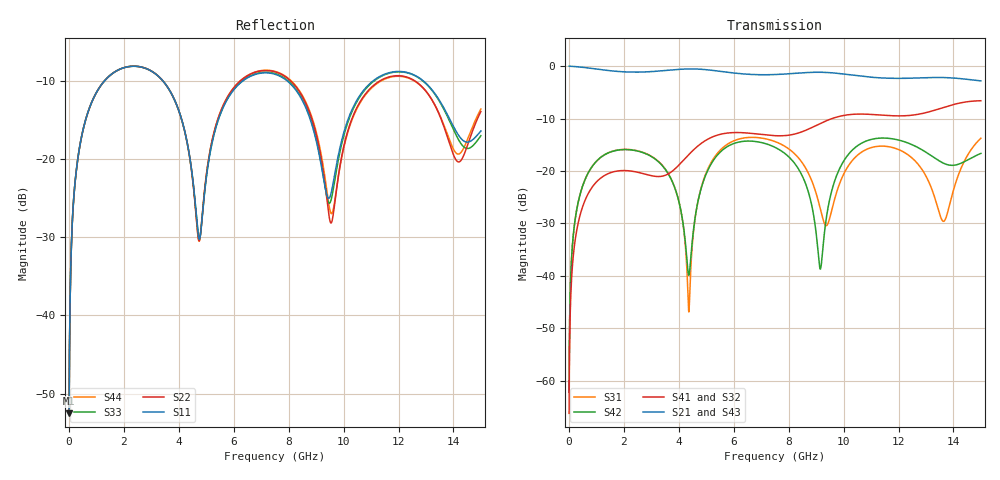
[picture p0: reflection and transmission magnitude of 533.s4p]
! Created with skrf 1.8.0 (http://scikit-rf.org).
# GHz S RI R 50.0
!freq ReS11 ImS11 ReS12 ImS12 ReS13 ImS13
! ReS14 ImS14
! ReS21 ImS21 ReS22 ImS22 ReS23 ImS23
! ReS24 ImS24
! ReS31 ImS31 ReS32 ImS32 ReS33 ImS33
! ReS34 ImS34
! ReS41 ImS41 ReS42 ImS42 ReS43 ImS43
! ReS44 ImS44
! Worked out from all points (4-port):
!   2499 points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, 5 MHz to 15 GHz, reference 50 ohm
!   strongest paths, dB at 5 MHz, 3.476 GHz, 7.19 GHz, 11.1 GHz, 15 GHz:
!     S21: 0.0, -0.9, -1.7, -2.2, -2.8
!     S43: 0.0, -0.9, -1.7, -2.1, -2.8
!     S41: -66.2, -20.9, -13.2, -9.2, -6.6
!     S32: -66.2, -20.9, -13.2, -9.3, -6.6
!     S42: -62.2, -19.5, -14.8, -13.9, -16.7
!     S31: -62.2, -19.4, -13.9, -15.4, -13.8
!   lowest |S11| = -52.5 dB at 5 MHz (marker M1), VSWR 1.00, Z = 50.2 + j0.144 ohm
!   |S11| at or under -10 dB: 3.412 GHz to 6.345 GHz (2.932 GHz wide, 60.1 % of centre); 7.937 GHz to 11.09 GHz (3.149 GHz wide, 33.1 % of centre); 12.89 GHz to end of sweep (the widest 3 of 4)
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0.005  0.00189 0.00143  0.9981 -0.00367  9.63e-05 0.000768  -9.33e-05 -0.000479
       0.9981 -0.00367  0.00189 0.00143  -9.33e-05 -0.000479  9.62e-05 0.000768
       9.63e-05 0.000768  -9.33e-05 -0.000479  0.00189 0.00143  0.9981 -0.00367
       -9.33e-05 -0.000479  9.62e-05 0.000768  0.9981 -0.00367  0.00189 0.00143
0.3126303  0.0305 0.0928  0.9581 -0.227  0.0147 0.0447  -0.0121 -0.0273
           0.9581 -0.227  0.0305 0.0928  -0.0121 -0.0273  0.0145 0.0448
           0.0147 0.0447  -0.0121 -0.0273  0.0305 0.0928  0.9581 -0.227
           -0.0121 -0.0273  0.0145 0.0448  0.9581 -0.227  0.0305 0.0928
1.369321  0.2748 0.1753  0.5381 -0.7348  0.1332 0.0608  -0.0926 -0.00426
          0.5381 -0.7348  0.2753 0.1749  -0.0926 -0.00433  0.132 0.0625
          0.1332 0.0608  -0.0926 -0.00433  0.2748 0.1753  0.5381 -0.7348
          -0.0926 -0.00426  0.132 0.0625  0.5381 -0.7348  0.2753 0.1749
4.364318  0.0542 -0.0977  -0.8851 -0.3138  -0.0045 -0.000452  -0.0432 0.1366
          -0.8851 -0.3138  0.0528 -0.0974  -0.0441 0.1364  -0.01 -0.00147
          -0.0045 -0.000452  -0.0441 0.1364  0.0541 -0.0973  -0.8853 -0.3136
          -0.0432 0.1366  -0.01 -0.00147  -0.8853 -0.3136  0.0526 -0.097
5.821175  0.193 0.1577  -0.6934 0.5256  0.1651 0.0796  0.1773 0.1474
          -0.6934 0.5256  0.2004 0.16  0.1761 0.1482  0.1456 0.0951
          0.1651 0.0796  0.1761 0.1482  0.1948 0.1584  -0.6927 0.5258
          0.1773 0.1474  0.1456 0.0951  -0.6927 0.5258  0.2007 0.1613
9.610254  0.0593 0.0344  0.8567 0.0866  -0.00794 0.0459  0.0189 -0.3173
          0.8567 0.0866  0.0404 0.0138  0.024 -0.3174  0.0413 0.0575
          -0.00794 0.0459  0.024 -0.3174  0.0549 0.0289  0.8567 0.0882
          0.0189 -0.3173  0.0413 0.0575  0.8567 0.0882  0.0457 0.00879
15  0.1481 0.0284  -0.7087 0.1399  0.1737 0.109  0.1344 0.4475
    -0.7087 0.1399  0.1645 0.1153  0.1254 0.4523  0.0395 0.1414
    0.1737 0.109  0.1254 0.4523  0.1369 0.0327  -0.7086 0.1408
    0.1344 0.4475  0.0395 0.1414  -0.7086 0.1408  0.1775 0.1093
